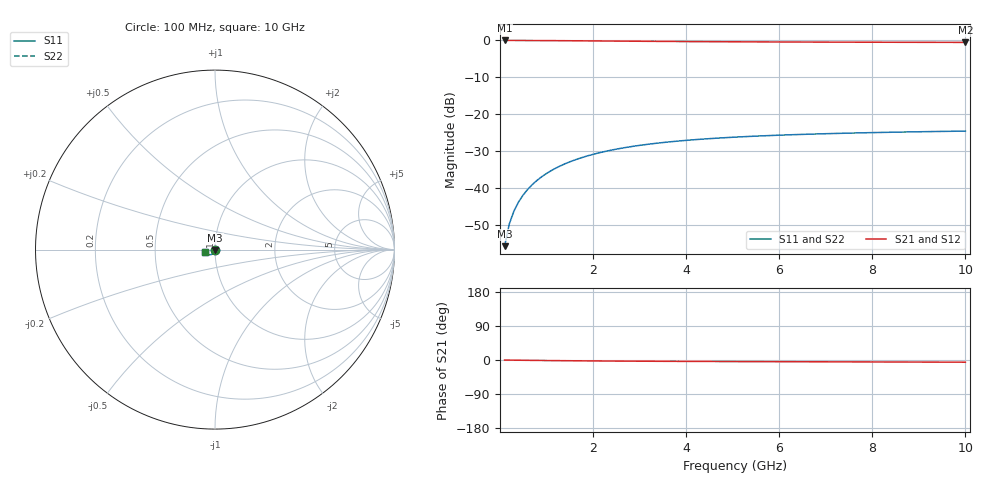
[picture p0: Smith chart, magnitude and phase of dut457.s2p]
! Touchstone file exported from HFSS 2024.1.0
!  File:  C:/UserFiles/LocalFiles/RDL_TSV_Batchsim/temp_TSV1_457_1779697157.aedt
!  Generated:  04:25:03 PM May 25, 2026
!  Design:  TSV1
!  Project:  temp_TSV1_457_1779697157
!  Setup:  Setup1
!  Solution:  Sweep
! Variables:
!  dtsv = 11.34um
!  hbump = 3um
!  htsv = 91.61um
!  lrdl = 252.1521522um
!  p = 40
!  p1 = 47.13um
!  t = 500um
!  trdl = 3um
!  wrdl = 24.89489489um
# GHz S MA R 50.000000
! Terminal data exported
! Port[1] = TSV22_T1
! Port[2] = TSV22_T2
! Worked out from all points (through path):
!   100 points, 100 MHz to 10 GHz, reference 50 ohm
!   highest |S21| = 0.00 dB at 100 MHz (marker M1); lowest = -0.5 dB at 10 GHz (marker M2)
!   lowest |S11| = -55.9 dB at 100 MHz (marker M3), VSWR 1.00, Z = 50 - j0.161 ohm
!   |S11| at or under -10 dB: start of sweep to end of sweep
!   |S22| runs from -55.9 to -24.6 dB; largest |S21 - S12| = 6.2e-15
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0.1  0.001612 -87.2  0.9998 -0.1  0.9998 -0.1  0.001612 -87.2
! Gamma 0 0 0 0
! Port Impedance 50 0 50 0
0.2  0.003217 -90.9  0.9997 -0.3  0.9997 -0.3  0.003217 -90.9
0.3  0.004822 -93.3  0.9994 -0.4  0.9994 -0.4  0.004822 -93.3
0.4  0.006422 -95.2  0.9991 -0.6  0.9991 -0.6  0.006422 -95.2
0.5  0.00801 -97.1  0.9986 -0.7  0.9986 -0.7  0.00801 -97.1
0.6  0.009582 -98.9  0.9981 -0.9  0.9981 -0.9  0.009582 -98.9
0.7  0.01113 -100.6  0.9976 -1.0  0.9976 -1.0  0.01113 -100.6
0.8  0.01266 -102.3  0.9969 -1.1  0.9969 -1.1  0.01266 -102.3
0.9  0.01416 -104.0  0.9962 -1.3  0.9962 -1.3  0.01416 -104.0
1.1  0.01708 -107.2  0.9946 -1.5  0.9946 -1.5  0.01708 -107.2
1.4  0.0212 -111.8  0.9918 -1.8  0.9918 -1.8  0.0212 -111.8
1.6  0.02376 -114.7  0.9898 -2.1  0.9898 -2.1  0.02376 -114.7
1.8  0.02617 -117.5  0.9877 -2.3  0.9877 -2.3  0.02617 -117.5
2.1  0.02951 -121.4  0.9845 -2.5  0.9845 -2.5  0.02951 -121.4
2.5  0.03345 -126.3  0.9802 -2.8  0.9802 -2.8  0.03345 -126.3
2.9  0.03686 -130.6  0.9761 -3.1  0.9761 -3.1  0.03686 -130.6
3.4  0.04047 -135.5  0.9713 -3.4  0.9713 -3.4  0.04047 -135.5
4.2  0.04504 -142.2  0.9646 -3.8  0.9646 -3.8  0.04504 -142.2
5.1  0.04888 -148.3  0.9585 -4.1  0.9585 -4.1  0.04888 -148.3
6.7  0.05354 -157.0  0.9506 -4.7  0.9506 -4.7  0.05354 -157.0
8.4  0.05674 -164.1  0.945 -5.3  0.945 -5.3  0.05674 -164.1
10  0.05882 -169.5  0.9413 -5.8  0.9413 -5.8  0.05882 -169.5
